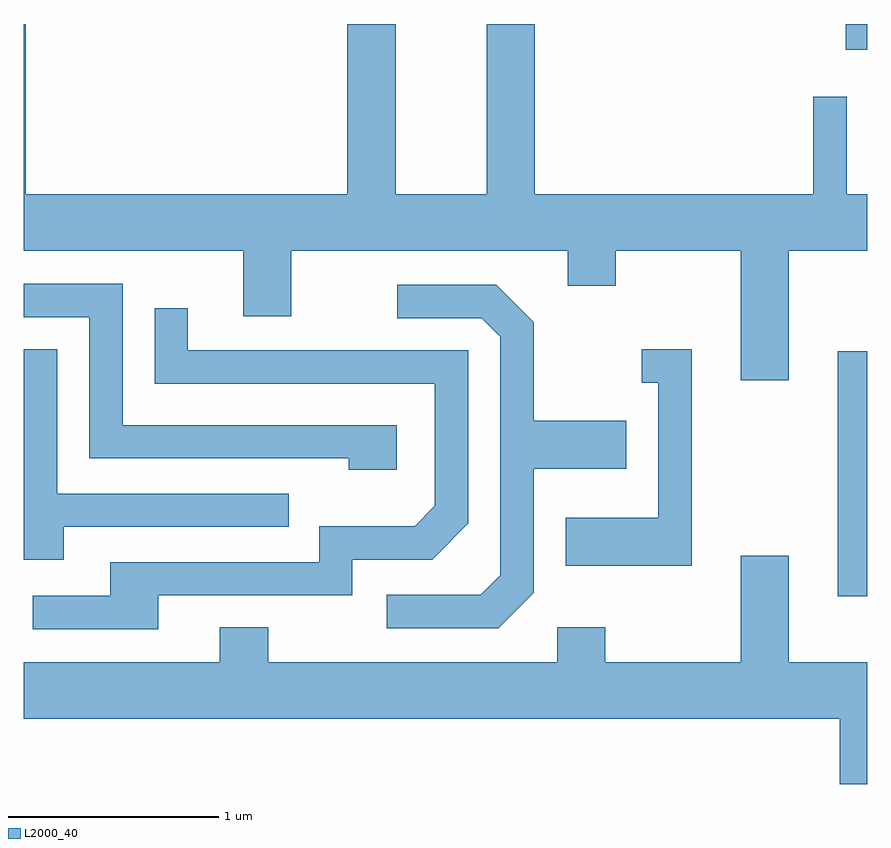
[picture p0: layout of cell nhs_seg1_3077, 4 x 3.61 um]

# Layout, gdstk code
import gdstk
lib = gdstk.Library(unit=1e-6, precision=1e-09)
def R(c, l, rs):  # rectangles x0, y0, x1, y1
    for r in rs: c.add(gdstk.rectangle(r[:2], r[2:], *l))
def P(c, l, *ps):  # polygons
    for p in ps: c.add(gdstk.Polygon(p, *l))
L2000_40 = (2000, 40)

nhs_seg1_3077 = lib.new_cell('nhs_seg1_3077')
R(nhs_seg1_3077, L2000_40, [(281.471,948.996,281.611,950.159), (281.511,951.591,281.611,951.712)])
P(nhs_seg1_3077, L2000_40, [(281.239,950.636),(281.611,950.636),(281.611,950.904),(281.514,950.904),(281.514,951.368),(281.356,951.368),(281.356,950.904),(280.034,950.904),(280.034,951.712),(279.806,951.712),(279.806,950.904),(279.374,950.904),(279.374,951.712),(279.146,951.712),(279.146,950.904),(277.619,950.904),(277.619,951.712),(277.611,951.712),(277.611,950.636),(278.651,950.636),(278.651,950.326),(278.879,950.326),(278.879,950.636),(280.191,950.636),(280.191,950.471),(280.419,950.471),(280.419,950.636),(281.011,950.636),(281.011,950.021),(281.239,950.021)],
  [(279.379,949.809),(278.079,949.809),(278.079,950.479),(277.611,950.479),(277.611,950.321),(277.921,950.321),(277.921,949.651),(279.151,949.651),(279.151,949.596),(279.379,949.596)],
  [(280.029,949.014),(280.029,949.601),(280.469,949.601),(280.469,949.829),(280.029,949.829),(280.029,950.297),(279.852,950.474),(279.383,950.474),(279.383,950.316),(279.784,950.316),(279.871,950.229),(279.871,949.097),(279.779,949.004),(279.333,949.004),(279.333,948.846),(279.862,948.846)],
  [(278.249,949.001),(279.169,949.001),(279.169,949.171),(279.547,949.171),(279.719,949.344),(279.719,950.164),(278.389,950.164),(278.389,950.363),(278.231,950.363),(278.231,950.006),(279.561,950.006),(279.561,949.427),(279.464,949.329),(279.011,949.329),(279.011,949.159),(278.021,949.159),(278.021,948.999),(277.653,948.999),(277.653,948.841),(278.249,948.841)],
  [(277.799,949.326),(278.868,949.326),(278.868,949.484),(277.769,949.484),(277.769,950.169),(277.611,950.169),(277.611,949.171),(277.799,949.171)],
  [(280.779,950.169),(280.543,950.169),(280.543,950.011),(280.621,950.011),(280.621,949.369),(280.181,949.369),(280.181,949.141),(280.779,949.141)],
  [(281.611,948.684),(281.239,948.684),(281.239,949.189),(281.011,949.189),(281.011,948.684),(280.369,948.684),(280.369,948.849),(280.141,948.849),(280.141,948.684),(278.769,948.684),(278.769,948.849),(278.541,948.849),(278.541,948.684),(277.611,948.684),(277.611,948.416),(281.481,948.416),(281.481,948.106),(281.611,948.106)])

lib.write_gds('nhs_seg1_3077.gds')
